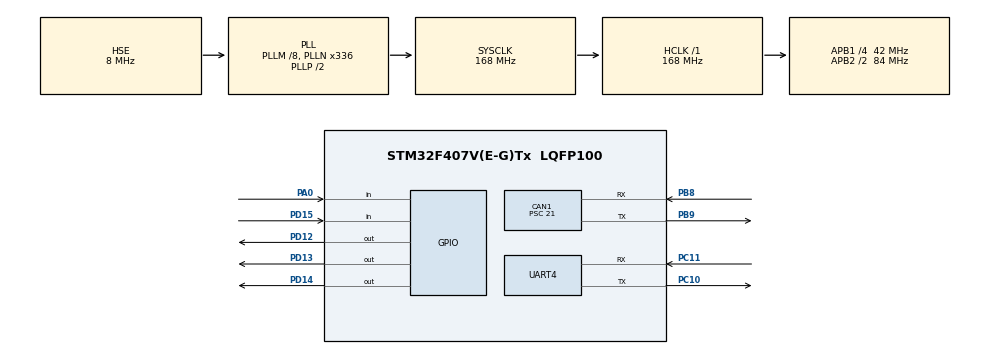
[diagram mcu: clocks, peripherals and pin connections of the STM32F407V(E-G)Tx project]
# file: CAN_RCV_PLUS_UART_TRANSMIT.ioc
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CAN1.BS1=CAN_BS1_13TQ
CAN1.BS2=CAN_BS2_2TQ
CAN1.CalculateTimeQuantum=500.0
CAN1.Prescaler=21
Mcu.Family=STM32F4
Mcu.Name=STM32F407V(E-G)Tx
Mcu.Package=LQFP100
NVIC.PriorityGroup=NVIC_PRIORITYGROUP_4
PA0-WKUP.Signal=GPIO_Input
PA13.Mode=Serial_Wire
PA13.Signal=SYS_JTMS-SWDIO
PA14.Mode=Serial_Wire
PA14.Signal=SYS_JTCK-SWCLK
PB8.GPIO_Speed=GPIO_SPEED_FREQ_VERY_HIGH
PB8.Mode=Master
PB8.Signal=CAN1_RX
PB9.GPIO_Speed=GPIO_SPEED_FREQ_VERY_HIGH
PB9.Mode=Master
PB9.Signal=CAN1_TX
PC10.Mode=Asynchronous
PC10.Signal=UART4_TX
PC11.Mode=Asynchronous
PC11.Signal=UART4_RX
PD12.Signal=GPIO_Output
PD13.Signal=GPIO_Output
PD14.Signal=GPIO_Output
PD15.Signal=GPIO_Input
PH0-OSC_IN.Mode=HSE-External-Oscillator
PH0-OSC_IN.Signal=RCC_OSC_IN
PH1-OSC_OUT.Mode=HSE-External-Oscillator
PH1-OSC_OUT.Signal=RCC_OSC_OUT
ProjectManager.HeapSize=0x200
ProjectManager.StackSize=0x400
ProjectManager.TargetToolchain=SW4STM32
RCC.48MHZClocksFreq_Value=84000000
RCC.AHBFreq_Value=168000000
RCC.APB1CLKDivider=RCC_HCLK_DIV4
RCC.APB1Freq_Value=42000000
RCC.APB1TimFreq_Value=84000000
RCC.APB2CLKDivider=RCC_HCLK_DIV2
RCC.APB2Freq_Value=84000000
RCC.APB2TimFreq_Value=168000000
RCC.CortexFreq_Value=168000000
RCC.HCLKFreq_Value=168000000
RCC.HSE_VALUE=8000000
RCC.HSI_VALUE=16000000
RCC.LSE_VALUE=32768
RCC.PLLM=8
RCC.PLLN=336
RCC.PLLSourceVirtual=RCC_PLLSOURCE_HSE
RCC.SYSCLKFreq_VALUE=168000000
RCC.SYSCLKSource=RCC_SYSCLKSOURCE_PLLCLK
RCC.VCOOutputFreq_Value=336000000
UART4.VirtualMode=Asynchronous
board=custom

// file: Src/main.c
/**
  ******************************************************************************
  * @file           : main.c
  * @brief          : Main program body
  ******************************************************************************
  ** This notice applies to any and all portions of this file
  * that are not between comment pairs USER CODE BEGIN and
  * USER CODE END. Other portions of this file, whether
  * inserted by the user or by software development tools
  * are owned by their respective copyright owners.
  *
  * COPYRIGHT(c) 2018 STMicroelectronics
  *
  * Redistribution and use in source and binary forms, with or without modification,
  * are permitted provided that the following conditions are met:
  *   1. Redistributions of source code must retain the above copyright notice,
  *      this list of conditions and the following disclaimer.
  *   2. Redistributions in binary form must reproduce the above copyright notice,
  *      this list of conditions and the following disclaimer in the documentation
  *      and/or other materials provided with the distribution.
  *   3. Neither the name of STMicroelectronics nor the names of its contributors
  *      may be used to endorse or promote products derived from this software
  *      without specific prior written permission.
  *
  * THIS SOFTWARE IS PROVIDED BY THE COPYRIGHT HOLDERS AND CONTRIBUTORS "AS IS"
  * AND ANY EXPRESS OR IMPLIED WARRANTIES, INCLUDING, BUT NOT LIMITED TO, THE
  * IMPLIED WARRANTIES OF MERCHANTABILITY AND FITNESS FOR A PARTICULAR PURPOSE ARE
  * DISCLAIMED. IN NO EVENT SHALL THE COPYRIGHT HOLDER OR CONTRIBUTORS BE LIABLE
  * FOR ANY DIRECT, INDIRECT, INCIDENTAL, SPECIAL, EXEMPLARY, OR CONSEQUENTIAL
  * DAMAGES (INCLUDING, BUT NOT LIMITED TO, PROCUREMENT OF SUBSTITUTE GOODS OR
  * SERVICES; LOSS OF USE, DATA, OR PROFITS; OR BUSINESS INTERRUPTION) HOWEVER
  * CAUSED AND ON ANY THEORY OF LIABILITY, WHETHER IN CONTRACT, STRICT LIABILITY,
  * OR TORT (INCLUDING NEGLIGENCE OR OTHERWISE) ARISING IN ANY WAY OUT OF THE USE
  * OF THIS SOFTWARE, EVEN IF ADVISED OF THE POSSIBILITY OF SUCH DAMAGE.
  *
  ******************************************************************************
  */
#include "main.h"
#include "stm32f4xx_hal.h"

CAN_HandleTypeDef hcan1;
UART_HandleTypeDef huart4;

/* USER CODE BEGIN PV */
/* Private variables ---------------------------------------------------------*/
CAN_RxHeaderTypeDef RxHeader;
uint8_t RxData[10];

/* USER CODE END PV */

void SystemClock_Config(void);
static void MX_GPIO_Init(void);
static void MX_CAN1_Init(void);
static void MX_UART4_Init(void);

/* USER CODE BEGIN PFP */
/* Private function prototypes -----------------------------------------------*/
void MyErrHandl(void);
HAL_StatusTypeDef Recv(void);
//uint8_t pData[2] = "ok";

/* USER CODE END PFP */

int main(void)
{

  /* MCU Configuration----------------------------------------------------------*/

  /* Reset of all peripherals, Initializes the Flash interface and the Systick. */
  HAL_Init();

  /* Configure the system clock */
  SystemClock_Config();

  /* Initialize all configured peripherals */
  MX_GPIO_Init();
  MX_CAN1_Init();
  MX_UART4_Init();

  /* Infinite loop */
  while (1)
  {

  /* USER CODE BEGIN 3 */

  if(Recv() == HAL_OK)
  {
	  HAL_GPIO_WritePin(GPIOD, GPIO_PIN_12, GPIO_PIN_SET);
	  HAL_Delay(1000);
	  HAL_GPIO_WritePin(GPIOD, GPIO_PIN_12, GPIO_PIN_RESET);
	  HAL_Delay(1000);

	  HAL_GPIO_WritePin(GPIOD, GPIO_PIN_13, GPIO_PIN_SET);
	  HAL_Delay(1000);
	  HAL_GPIO_WritePin(GPIOD, GPIO_PIN_13, GPIO_PIN_RESET);
	  HAL_Delay(1000);

	  if (HAL_UART_GetState(&huart4)==HAL_UART_STATE_READY)
		  {
			  if (HAL_UART_Transmit(&huart4, RxData, sizeof(RxData),HAL_MAX_DELAY)==HAL_OK)
			  {
				  HAL_GPIO_WritePin(GPIOD, GPIO_PIN_15, GPIO_PIN_SET);
				  HAL_Delay(1000);
				  HAL_GPIO_WritePin(GPIOD, GPIO_PIN_15, GPIO_PIN_RESET);
				  HAL_Delay(1000);
			  }
		  }
  }
  /* USER CODE END 3 */

 }
}

void SystemClock_Config(void)
{

	  RCC_OscInitTypeDef RCC_OscInitStruct;
	  RCC_ClkInitTypeDef RCC_ClkInitStruct;
	  __HAL_RCC_PWR_CLK_ENABLE();
	  __HAL_RCC_CAN1_CLK_ENABLE();
	  __HAL_PWR_VOLTAGESCALING_CONFIG(PWR_REGULATOR_VOLTAGE_SCALE1);

   	  RCC_OscInitStruct.OscillatorType = RCC_OSCILLATORTYPE_HSE;
	  RCC_OscInitStruct.HSEState = RCC_HSE_ON;
	  RCC_OscInitStruct.PLL.PLLState = RCC_PLL_ON;
	  RCC_OscInitStruct.PLL.PLLSource = RCC_PLLSOURCE_HSE;
	  RCC_OscInitStruct.PLL.PLLM = 8;
	  RCC_OscInitStruct.PLL.PLLN = 336;
	  RCC_OscInitStruct.PLL.PLLP = RCC_PLLP_DIV2;
	  RCC_OscInitStruct.PLL.PLLQ = 7;
	  if (HAL_RCC_OscConfig(&RCC_OscInitStruct) != HAL_OK)
	  {
	    _Error_Handler(__FILE__, __LINE__);
	  }
	  RCC_ClkInitStruct.ClockType = RCC_CLOCKTYPE_HCLK|RCC_CLOCKTYPE_SYSCLK
	                                |RCC_CLOCKTYPE_PCLK1|RCC_CLOCKTYPE_PCLK2;
	    RCC_ClkInitStruct.SYSCLKSource = RCC_SYSCLKSOURCE_PLLCLK;
	    RCC_ClkInitStruct.AHBCLKDivider = RCC_SYSCLK_DIV1;
	    RCC_ClkInitStruct.APB1CLKDivider = RCC_HCLK_DIV4;
	    RCC_ClkInitStruct.APB2CLKDivider = RCC_HCLK_DIV2;

	    if (HAL_RCC_ClockConfig(&RCC_ClkInitStruct, FLASH_LATENCY_5) != HAL_OK)
	    {
	      _Error_Handler(__FILE__, __LINE__);
	    }

	    HAL_SYSTICK_Config(HAL_RCC_GetHCLKFreq()/1000);

	    HAL_SYSTICK_CLKSourceConfig(SYSTICK_CLKSOURCE_HCLK);

	    HAL_NVIC_SetPriority(SysTick_IRQn, 0, 0);
}

/* CAN1 init function */
static void MX_CAN1_Init(void)
{

	  hcan1.Instance = CAN1;
	  hcan1.Init.Prescaler = 21;
	  hcan1.Init.Mode = CAN_MODE_NORMAL;
	  hcan1.Init.SyncJumpWidth = CAN_SJW_1TQ;
	  hcan1.Init.TimeSeg1 = CAN_BS1_13TQ;
	  hcan1.Init.TimeSeg2 = CAN_BS2_2TQ;
	  hcan1.Init.TimeTriggeredMode = DISABLE;
	  hcan1.Init.AutoBusOff = DISABLE;
	  hcan1.Init.AutoWakeUp = DISABLE;
	  hcan1.Init.AutoRetransmission = ENABLE;
	  hcan1.Init.ReceiveFifoLocked = DISABLE;
	  hcan1.Init.TransmitFifoPriority = DISABLE;
	  if (HAL_CAN_Init(&hcan1) != HAL_OK)
	  {
	//    _Error_Handler(__FILE__, __LINE__);
	    MyErrHandl();
	  }

}

/* UART4 init function */
static void MX_UART4_Init(void)
{

  huart4.Instance = UART4;
  huart4.Init.BaudRate = 115200;
  huart4.Init.WordLength = UART_WORDLENGTH_8B;
  huart4.Init.StopBits = UART_STOPBITS_1;
  huart4.Init.Parity = UART_PARITY_NONE;
  huart4.Init.Mode = UART_MODE_TX_RX;
  huart4.Init.HwFlowCtl = UART_HWCONTROL_NONE;
  huart4.Init.OverSampling = UART_OVERSAMPLING_16;
  if (HAL_UART_Init(&huart4) != HAL_OK)
  {
    _Error_Handler(__FILE__, __LINE__);
  }

}

/** Configure pins as
        * Analog
        * Input
        * Output
        * EVENT_OUT
        * EXTI
*/
static void MX_GPIO_Init(void)
{

  GPIO_InitTypeDef GPIO_InitStruct;

  /* GPIO Ports Clock Enable */
  __HAL_RCC_GPIOH_CLK_ENABLE();
  __HAL_RCC_GPIOA_CLK_ENABLE();
  __HAL_RCC_GPIOD_CLK_ENABLE();
  __HAL_RCC_GPIOC_CLK_ENABLE();
  __HAL_RCC_GPIOB_CLK_ENABLE();

  /*Configure GPIO pin Output Level */
  HAL_GPIO_WritePin(GPIOD, GPIO_PIN_12|GPIO_PIN_13|GPIO_PIN_14, GPIO_PIN_RESET);

  /*Configure GPIO pin : PA0 */
  GPIO_InitStruct.Pin = GPIO_PIN_0;
  GPIO_InitStruct.Mode = GPIO_MODE_INPUT;
  GPIO_InitStruct.Pull = GPIO_NOPULL;
  HAL_GPIO_Init(GPIOA, &GPIO_InitStruct);

  /*Configure GPIO pins : PD12 PD13 PD14 */
  GPIO_InitStruct.Pin = GPIO_PIN_12|GPIO_PIN_13|GPIO_PIN_14| GPIO_PIN_15;
  GPIO_InitStruct.Mode = GPIO_MODE_OUTPUT_PP;
  GPIO_InitStruct.Pull = GPIO_NOPULL;
  GPIO_InitStruct.Speed = GPIO_SPEED_FREQ_LOW;
  HAL_GPIO_Init(GPIOD, &GPIO_InitStruct);
//
//  /*Configure GPIO pin : PD15 */
//  GPIO_InitStruct.Pin = GPIO_PIN_15;
//  GPIO_InitStruct.Mode = GPIO_MODE_INPUT;
//  GPIO_InitStruct.Pull = GPIO_NOPULL;
//  HAL_GPIO_Init(GPIOD, &GPIO_InitStruct);

}

void _Error_Handler(char *file, int line)
{
  while(1)
  {
  }
}

HAL_StatusTypeDef Recv(void) {

	CAN_FilterTypeDef filter;

	filter.FilterScale = CAN_FILTERSCALE_32BIT;
	filter.FilterMode = CAN_FILTERMODE_IDMASK;
	filter.FilterIdHigh = (0x11 << 5);
	filter.FilterIdLow = 0x0000;
	filter.FilterMaskIdHigh = 0x0000;
	filter.FilterMaskIdLow = 0x0000;
	filter.FilterBank = 0;
	filter.FilterFIFOAssignment = CAN_FILTER_FIFO0;
	filter.FilterActivation = ENABLE;
	filter.SlaveStartFilterBank = 14;

	RxHeader.DLC = 2;
	RxHeader.RTR = CAN_RTR_DATA;
	RxHeader.IDE = CAN_ID_STD;

	if(HAL_CAN_ConfigFilter(&hcan1,&filter) != HAL_OK) {
		MyErrHandl();
	}

	if(HAL_CAN_Start(&hcan1) != HAL_OK) {
		MyErrHandl();
	}

	while(HAL_CAN_GetRxFifoFillLevel(&hcan1,CAN_RX_FIFO0) != 1) {		//wait for the message
		HAL_GPIO_TogglePin(GPIOD,GPIO_PIN_13);							//to indiacte the wait lit-up the Orange light
		HAL_Delay(10);													//with the delay of 10ms
	}

	if(HAL_CAN_GetRxMessage(&hcan1,CAN_RX_FIFO0,&RxHeader,RxData) == HAL_OK) {
		HAL_GPIO_WritePin(GPIOD,GPIO_PIN_15,GPIO_PIN_SET);
		HAL_Delay(200);								//indicate the reception by green led for 200ms
	}

	return HAL_OK;
}

void MyErrHandl(void) {
	while(1) {
		HAL_GPIO_TogglePin(GPIOD,GPIO_PIN_14);
		HAL_Delay(10);
	}
}

/************************ (C) COPYRIGHT STMicroelectronics *****END OF FILE****/
